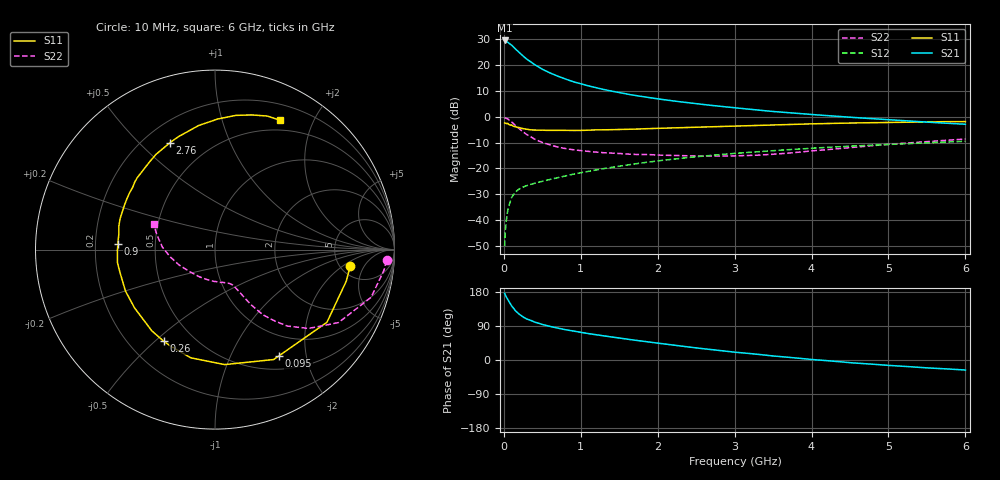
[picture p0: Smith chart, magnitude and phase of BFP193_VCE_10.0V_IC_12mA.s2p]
! Infineon Technologies  Discrete & RF Semiconductors
! BFP193
! VCE = 10.0V,  IC =  12 mA
! Common Emitter S-Parameters:  Jan 2016
# GHz  S  MA  R  50
!  f  S11  S21  S12  S22
! GHz  MAG  ANG  MAG  ANG  MAG  ANG  MAG  ANG
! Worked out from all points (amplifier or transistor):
!   210 points, 10 MHz to 6 GHz, reference 50 ohm
!   highest |S21| = 29.6 dB at 10 MHz (marker M1)
!   |S21| within 3 dB of that: start of sweep to 140 MHz
!   unconditionally stable (mu >= 1): 991.4 MHz to 3.85 GHz
!   at 185 MHz: K = 0.35, MSG = 26.8 dB, |S12| = -28.3 dB
!   at 1.52 GHz: K = 1.08, MAG = 12.5 dB, |S12| = -19.1 dB
!   at 6 GHz: K = 0.90, MSG = 3.3 dB, |S12| = -9.5 dB
!   S11 on the Smith chart (normalised r, x): 10 MHz: 6.07, -2.68; 95 MHz: 0.68, -1.55; 260 MHz: 0.34, -0.53; 900 MHz: 0.30, +0.03; 2.76 GHz: 0.30, +0.62; 6 GHz: 0.38, +1.56
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0.01  0.7587 -7.1  30.14 176.0  0.0031 81.0  0.9576 -3.6
0.02  0.7522 -13.5  29.35 170.7  0.0062 81.8  0.9483 -7.0
0.05  0.7437 -33.0  27.99 159.4  0.0149 73.4  0.9093 -17.0
0.095  0.6908 -58.9  24.8 144.8  0.0257 63.3  0.8079 -29.1
0.1  0.6942 -61.9  24.56 143.0  0.0269 62.7  0.7991 -30.6
0.15  0.643 -85.2  20.66 129.8  0.0348 54.0  0.6805 -40.2
0.2  0.6179 -102.6  17.59 120.7  0.0398 49.3  0.5862 -46.6
0.26  0.5852 -119.2  14.61 112.4  0.0441 46.3  0.4962 -51.2
0.3  0.5734 -127.9  13.02 108.0  0.0464 45.7  0.4505 -53.7
0.4  0.5536 -144.0  10.25 100.1  0.0515 44.6  0.3678 -56.8
0.5  0.5498 -155.1  8.337 93.7  0.056 44.9  0.3174 -58.4
0.6  0.5444 -164.5  7.069 88.5  0.0611 46.1  0.2831 -59.6
0.7  0.5484 -172.3  6.124 83.8  0.0657 47.0  0.2589 -60.6
0.9  0.5424 176.5  4.79 76.4  0.0769 48.6  0.229 -62.2
1.02  0.5442 169.8  4.267 72.4  0.0832 49.1  0.219 -63.7
1.4  0.5619 153.9  3.134 60.8  0.104 49.8  0.1981 -70.1
2.02  0.5956 133.1  2.202 44.1  0.1405 46.9  0.1804 -85.3
2.76  0.6457 113.0  1.627 26.1  0.1818 41.0  0.1723 -110.5
3.1  0.6675 105.5  1.444 18.9  0.1999 37.8  0.1754 -123.8
4.1  0.733 87.2  1.079 -0.1  0.2504 28.1  0.2237 -160.0
5.1  0.7814 73.5  0.86 -15.4  0.2952 17.9  0.2993 175.1
6  0.8066 63.3  0.716 -26.4  0.3345 8.7  0.3701 157.7
